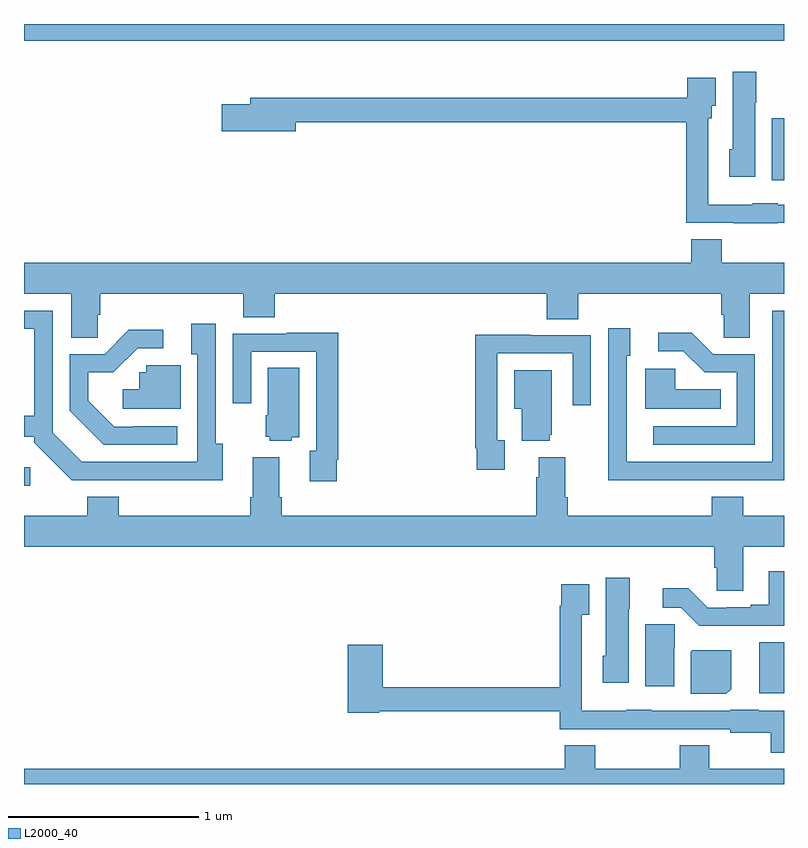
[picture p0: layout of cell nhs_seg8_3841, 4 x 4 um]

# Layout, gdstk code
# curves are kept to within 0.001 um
import gdstk
lib = gdstk.Library(unit=1e-6, precision=1e-09)
def R(c, l, rs):  # rectangles x0, y0, x1, y1
    for r in rs: c.add(gdstk.rectangle(r[:2], r[2:], *l))
def P(c, l, *ps):  # polygons
    for p in ps: c.add(gdstk.Polygon(p, *l))
L2000_40 = (2000, 40)

nhs_seg8_3841 = lib.new_cell('nhs_seg8_3841')
R(nhs_seg8_3841, L2000_40, [(350.87,1134.377,351,1134.646), (347,1135.469,347.032,1135.567), (350.936,1137.078,351,1137.405), (347,1137.812,351,1137.9)])
P(nhs_seg8_3841, L2000_40, [(350.848,1137.486),(350.854,1137.486),(350.854,1137.649),(350.729,1137.649),(350.729,1137.24),(350.711,1137.24),(350.711,1137.096),(350.848,1137.096)],
  [(350.967,1136.853),(351,1136.853),(351,1136.949),(350.967,1136.949),(350.967,1136.956),(350.835,1136.956),(350.835,1136.95),(350.601,1136.95),(350.601,1137.405),(350.62,1137.405),(350.62,1137.471),(350.641,1137.471),(350.641,1137.616),(350.492,1137.616),(350.492,1137.511),(348.191,1137.511),(348.191,1137.477),(348.042,1137.477),(348.042,1137.335),(348.43,1137.335),(348.43,1137.382),(350.485,1137.382),(350.485,1136.853),(350.735,1136.853),(350.735,1136.852),(350.967,1136.852)],
  [(347.387,1136.37),(347.402,1136.37),(347.402,1136.48),(348.155,1136.48),(348.155,1136.356),(348.32,1136.356),(348.32,1136.48),(349.751,1136.48),(349.751,1136.347),(349.916,1136.347),(349.916,1136.48),(350.669,1136.48),(350.669,1136.371),(350.682,1136.371),(350.682,1136.248),(350.821,1136.248),(350.821,1136.48),(351,1136.48),(351,1136.644),(350.673,1136.644),(350.673,1136.768),(350.513,1136.768),(350.513,1136.644),(347,1136.644),(347,1136.48),(347.249,1136.48),(347.249,1136.248),(347.387,1136.248)],
  [(348.046,1135.69),(348.009,1135.69),(348.009,1136.323),(347.879,1136.323),(347.879,1136.162),(347.913,1136.162),(347.913,1135.596),(347.304,1135.596),(347.151,1135.749),(347.151,1136.391),(347,1136.391),(347,1136.295),(347.054,1136.295),(347.054,1135.837),(347,1135.837),(347,1135.727),(347.055,1135.727),(347.055,1135.695),(347.25,1135.5),(348.046,1135.499)],
  [(350.537,1135.5),(351,1135.5),(351,1136.391),(350.937,1136.391),(350.937,1135.596),(350.173,1135.596),(350.173,1135.85),(350.172,1135.85),(350.172,1136.154),(350.191,1136.154),(350.191,1136.299),(350.076,1136.299),(350.076,1135.805),(350.074,1135.805),(350.074,1135.499),(350.537,1135.499)],
  [(347.806,1135.782),(347.575,1135.782),(347.575,1135.779),(347.475,1135.779),(347.338,1135.916),(347.338,1136.066),(347.471,1136.066),(347.598,1136.193),(347.734,1136.193),(347.734,1136.291),(347.552,1136.291),(347.424,1136.163),(347.241,1136.163),(347.241,1135.865),(347.42,1135.686),(347.806,1135.686)],
  [(350.847,1136.163),(350.628,1136.163),(350.515,1136.276),(350.337,1136.276),(350.337,1136.178),(350.471,1136.178),(350.582,1136.067),(350.751,1136.067),(350.751,1135.782),(350.313,1135.782),(350.313,1135.686),(350.847,1135.686)],
  [(348.646,1135.606),(348.653,1135.606),(348.653,1136.275),(348.383,1136.275),(348.383,1136.271),(348.099,1136.271),(348.099,1135.905),(348.195,1135.905),(348.195,1136.175),(348.537,1136.175),(348.537,1135.655),(348.503,1135.655),(348.503,1135.494),(348.646,1135.494)],
  [(349.531,1135.71),(349.491,1135.71),(349.491,1136.166),(349.887,1136.166),(349.887,1135.893),(349.983,1135.893),(349.983,1136.262),(349.667,1136.262),(349.667,1136.264),(349.375,1136.264),(349.375,1135.666),(349.383,1135.666),(349.383,1135.554),(349.531,1135.554)],
  [(347.824,1136.103),(347.643,1136.103),(347.643,1136.067),(347.607,1136.067),(347.607,1135.978),(347.52,1135.978),(347.52,1135.875),(347.824,1135.875)],
  [(348.408,1135.724),(348.448,1135.724),(348.448,1136.09),(348.284,1136.09),(348.284,1135.842),(348.272,1135.842),(348.272,1135.728),(348.294,1135.728),(348.294,1135.706),(348.408,1135.706)],
  [(350.666,1135.978),(350.427,1135.978),(350.427,1136.086),(350.27,1136.086),(350.27,1135.874),(350.666,1135.874)],
  [(349.766,1135.737),(349.777,1135.737),(349.777,1136.077),(349.58,1136.077),(349.58,1135.874),(349.619,1135.874),(349.619,1135.706),(349.766,1135.706)],
  [(350.785,1135.148),(351,1135.148),(351,1135.312),(350.786,1135.312),(350.786,1135.411),(350.621,1135.411),(350.621,1135.312),(349.862,1135.312),(349.862,1135.408),(349.849,1135.408),(349.849,1135.621),(349.709,1135.621),(349.709,1135.514),(349.697,1135.514),(349.697,1135.312),(348.356,1135.312),(348.356,1135.408),(348.343,1135.408),(348.343,1135.621),(348.203,1135.621),(348.203,1135.408),(348.191,1135.408),(348.191,1135.312),(347.498,1135.312),(347.498,1135.411),(347.333,1135.411),(347.333,1135.312),(347,1135.312),(347,1135.148),(350.633,1135.148),(350.633,1135.038),(350.646,1135.038),(350.646,1134.916),(350.785,1134.916)],
  [(351,1135.021),(350.921,1135.021),(350.921,1134.844),(350.825,1134.844),(350.825,1134.831),(350.698,1134.831),(350.698,1134.828),(350.598,1134.828),(350.496,1134.931),(350.361,1134.931),(350.361,1134.828),(350.46,1134.828),(350.555,1134.734),(351,1134.734)],
  [(350.182,1134.822),(350.188,1134.822),(350.188,1134.985),(350.063,1134.985),(350.063,1134.576),(350.045,1134.576),(350.045,1134.432),(350.182,1134.432)],
  [(351,1134.286),(350.868,1134.286),(350.868,1134.292),(350.718,1134.292),(350.718,1134.285),(350.301,1134.285),(350.301,1134.292),(350.169,1134.292),(350.169,1134.286),(349.935,1134.286),(349.935,1134.791),(349.975,1134.791),(349.975,1134.952),(349.827,1134.952),(349.827,1134.839),(349.819,1134.839),(349.819,1134.41),(348.887,1134.41),(348.887,1134.634),(348.704,1134.634),(348.704,1134.274),(348.87,1134.274),(348.87,1134.282),(349.819,1134.282),(349.819,1134.189),(350.069,1134.189),(350.069,1134.188),(350.301,1134.188),(350.301,1134.189),(350.718,1134.189),(350.718,1134.17),(350.931,1134.17),(350.931,1134.065),(351,1134.065)],
  [(350.422,1134.618),(350.426,1134.618),(350.426,1134.741),(350.27,1134.741),(350.27,1134.414),(350.422,1134.414)],
  [(350.722,1134.4),(350.722,1134.604),(350.518,1134.604),(350.51,1134.596),(350.51,1134.374),(350.696,1134.374)],
  [(351,1133.98),(350.607,1133.98),(350.607,1134.104),(350.452,1134.104),(350.452,1133.98),(350.007,1133.98),(350.007,1134.104),(349.847,1134.104),(349.847,1133.98),(347,1133.98),(347,1133.9),(351,1133.9)])

lib.write_gds('nhs_seg8_3841.gds')
